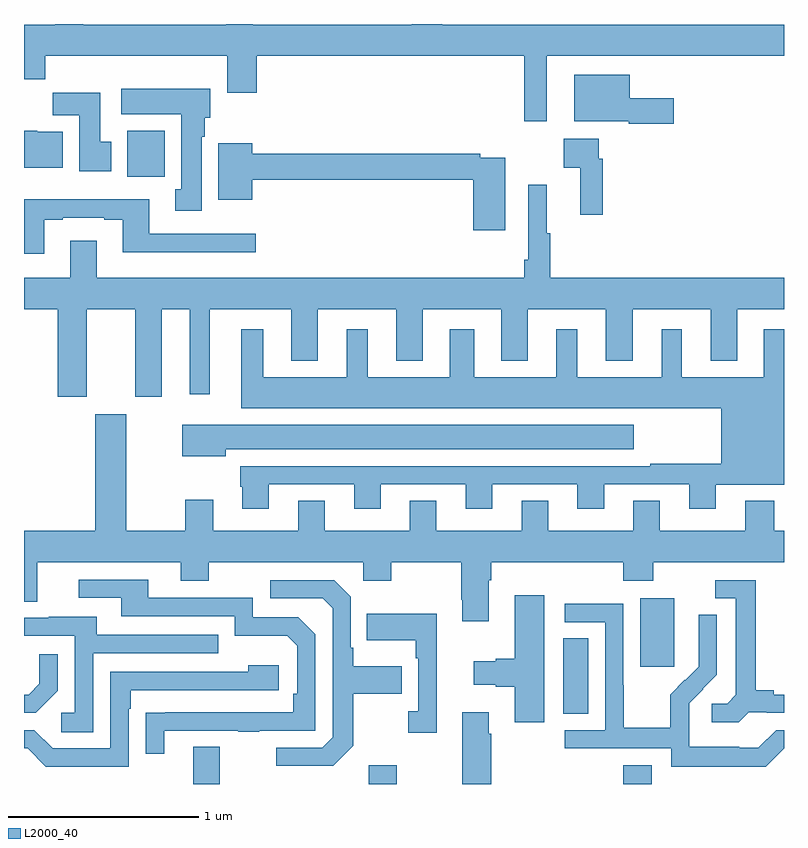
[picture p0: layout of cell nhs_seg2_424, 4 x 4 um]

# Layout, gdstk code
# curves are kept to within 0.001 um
import gdstk
lib = gdstk.Library(unit=1e-6, precision=1e-09)
def R(c, l, rs):  # rectangles x0, y0, x1, y1
    for r in rs: c.add(gdstk.rectangle(r[:2], r[2:], *l))
def P(c, l, *ps):  # polygons
    for p in ps: c.add(gdstk.Polygon(p, *l))
L2000_40 = (2000, 40)

nhs_seg2_424 = lib.new_cell('nhs_seg2_424')
R(nhs_seg2_424, L2000_40, [(131.891,647.8,132.031,647.995), (132.815,647.8,132.963,647.899), (134.153,647.8,134.305,647.899), (133.838,648.169,133.969,648.566), (134.243,648.417,134.422,648.778), (131.543,650.996,131.74,651.238)])
P(nhs_seg2_424, L2000_40, [(133.75,651.632),(135,651.632),(135,651.796),(133.202,651.796),(133.202,651.8),(133.042,651.8),(133.042,651.796),(132.205,651.796),(132.205,651.8),(132.065,651.8),(132.065,651.796),(131.311,651.796),(131.311,651.8),(131.164,651.8),(131.164,651.796),(131,651.796),(131,651.508),(131.111,651.508),(131.111,651.632),(132.071,651.632),(132.071,651.438),(132.224,651.438),(132.224,651.632),(133.633,651.632),(133.633,651.288),(133.75,651.288)],
  [(134.419,651.409),(134.188,651.409),(134.188,651.532),(133.895,651.532),(133.895,651.287),(134.184,651.287),(134.184,651.275),(134.419,651.275)],
  [(131.935,651.206),(131.95,651.206),(131.95,651.306),(131.98,651.306),(131.98,651.46),(131.511,651.46),(131.511,651.326),(131.828,651.326),(131.828,650.93),(131.795,650.93),(131.795,650.817),(131.935,650.817)],
  [(131.458,651.18),(131.401,651.18),(131.401,651.439),(131.152,651.439),(131.152,651.32),(131.291,651.32),(131.291,651.024),(131.458,651.024)],
  [(131.203,651.232),(131.07,651.232),(131.07,651.238),(131,651.238),(131,651.044),(131.203,651.044)],
  [(134.045,651.092),(134.025,651.092),(134.025,651.196),(133.842,651.196),(133.842,651.044),(133.928,651.044),(133.928,650.796),(134.045,650.796)],
  [(133.534,651.096),(133.4,651.096),(133.4,651.116),(132.202,651.116),(132.202,651.172),(132.023,651.172),(132.023,650.876),(132.202,650.876),(132.202,650.98),(133.364,650.98),(133.364,650.715),(133.534,650.715)],
  [(131.329,650.3),(131.585,650.3),(131.585,649.839),(131.725,649.839),(131.725,650.3),(131.873,650.3),(131.873,649.851),(131.977,649.851),(131.977,650.3),(132.407,650.3),(132.407,650.027),(132.547,650.027),(132.547,650.3),(132.959,650.3),(132.959,650.027),(133.099,650.027),(133.099,650.3),(133.511,650.3),(133.511,650.027),(133.651,650.027),(133.651,650.3),(134.063,650.3),(134.063,650.027),(134.203,650.027),(134.203,650.3),(134.615,650.3),(134.615,650.027),(134.755,650.027),(134.755,650.3),(135,650.3),(135,650.464),(133.769,650.464),(133.769,650.7),(133.751,650.7),(133.751,650.953),(133.653,650.953),(133.653,650.56),(133.633,650.56),(133.633,650.464),(131.383,650.464),(131.383,650.659),(131.243,650.659),(131.243,650.464),(131,650.464),(131,650.3),(131.177,650.3),(131.177,649.839),(131.329,649.839)],
  [(131.107,650.769),(131.203,650.769),(131.203,650.781),(131.423,650.781),(131.423,650.769),(131.519,650.769),(131.519,650.6),(132.22,650.6),(132.22,650.697),(131.659,650.697),(131.659,650.878),(131,650.878),(131,650.592),(131.107,650.592)],
  [(132.289,649.377),(132.737,649.377),(132.737,649.248),(132.877,649.248),(132.877,649.377),(133.325,649.377),(133.325,649.248),(133.465,649.248),(133.465,649.377),(133.913,649.377),(133.913,649.248),(134.053,649.248),(134.053,649.377),(134.501,649.377),(134.501,649.248),(134.641,649.248),(134.641,649.376),(135,649.376),(135,650.194),(134.894,650.194),(134.894,649.942),(134.461,649.942),(134.461,650.194),(134.357,650.194),(134.357,649.942),(133.912,649.942),(133.912,650.194),(133.802,650.194),(133.802,649.942),(133.369,649.942),(133.369,650.194),(133.241,650.194),(133.241,649.942),(132.808,649.942),(132.808,650.194),(132.698,650.194),(132.698,649.942),(132.259,649.942),(132.259,650.194),(132.143,650.194),(132.143,649.778),(134.669,649.778),(134.669,649.486),(134.296,649.486),(134.296,649.473),(132.137,649.473),(132.137,649.365),(132.149,649.365),(132.149,649.248),(132.289,649.248)],
  [(131,648.76),(131.071,648.76),(131.071,648.968),(131.825,648.968),(131.825,648.869),(131.973,648.869),(131.973,648.968),(132.786,648.968),(132.786,648.869),(132.933,648.869),(132.933,648.968),(133.3,648.968),(133.3,648.769),(133.307,648.769),(133.307,648.657),(133.447,648.657),(133.447,648.872),(133.46,648.872),(133.46,648.968),(134.153,648.968),(134.153,648.869),(134.313,648.869),(134.313,648.968),(135,648.968),(135,649.132),(134.948,649.132),(134.948,649.291),(134.795,649.291),(134.795,649.132),(134.347,649.132),(134.347,649.292),(134.207,649.292),(134.207,649.132),(133.759,649.132),(133.759,649.292),(133.619,649.292),(133.619,649.132),(133.171,649.132),(133.171,649.292),(133.031,649.292),(133.031,649.132),(132.583,649.132),(132.583,649.292),(132.443,649.292),(132.443,649.132),(131.995,649.132),(131.995,649.297),(131.848,649.297),(131.848,649.132),(131.539,649.132),(131.539,649.747),(131.375,649.747),(131.375,649.132),(131,649.132)],
  [(132.061,649.562),(134.209,649.562),(134.209,649.69),(131.832,649.69),(131.832,649.526),(132.061,649.526)],
  [(131.737,648.081),(132.127,648.081),(132.127,648.076),(132.239,648.076),(132.239,648.081),(132.534,648.081),(132.534,648.588),(132.444,648.678),(132.204,648.678),(132.204,648.78),(131.653,648.78),(131.653,648.876),(131.289,648.876),(131.289,648.78),(131.513,648.78),(131.513,648.684),(132.108,648.684),(132.108,648.581),(132.385,648.581),(132.438,648.528),(132.438,648.274),(132.418,648.274),(132.418,648.177),(131.641,648.176),(131.641,647.958),(131.737,647.958)],
  [(134.814,648.177),(134.908,648.177),(134.908,648.174),(135,648.174),(135,648.27),(134.947,648.27),(134.947,648.293),(134.851,648.293),(134.851,648.873),(134.637,648.873),(134.637,648.777),(134.747,648.777),(134.747,648.269),(134.7,648.222),(134.619,648.222),(134.619,648.125),(134.762,648.125)],
  [(132.733,648.001),(132.733,648.274),(132.989,648.274),(132.989,648.421),(132.733,648.421),(132.733,648.517),(132.72,648.517),(132.72,648.786),(132.633,648.873),(132.297,648.873),(132.297,648.777),(132.573,648.777),(132.624,648.726),(132.624,648.045),(132.57,647.991),(132.327,647.991),(132.327,647.895),(132.627,647.895)],
  [(133.738,648.793),(133.583,648.793),(133.583,648.458),(133.484,648.458),(133.484,648.445),(133.368,648.445),(133.368,648.323),(133.484,648.323),(133.484,648.311),(133.583,648.311),(133.583,648.126),(133.738,648.126)],
  [(135,647.988),(135,648.084),(134.958,648.084),(134.865,647.991),(134.765,647.991),(134.765,647.995),(134.502,647.995),(134.502,648.129),(134.5,648.129),(134.5,648.226),(134.646,648.374),(134.646,648.692),(134.55,648.692),(134.55,648.538),(134.552,648.538),(134.552,648.416),(134.481,648.345),(134.478,648.348),(134.401,648.271),(134.401,648.097),(134.157,648.097),(134.157,648.32),(134.154,648.32),(134.154,648.75),(133.845,648.75),(133.845,648.651),(134.058,648.651),(134.058,648.084),(133.845,648.084),(133.845,647.988),(134.406,647.988),(134.406,647.891),(134.903,647.891)],
  [(133.172,648.697),(132.805,648.697),(132.805,648.557),(133.062,648.557),(133.062,648.461),(133.074,648.461),(133.074,648.182),(133.023,648.182),(133.023,648.069),(133.172,648.069)],
  [(131.364,648.489),(132.023,648.489),(132.023,648.585),(131.383,648.585),(131.383,648.679),(131.129,648.679),(131.129,648.675),(131,648.675),(131,648.579),(131.268,648.579),(131.268,648.174),(131.196,648.174),(131.196,648.073),(131.364,648.073)],
  [(131.178,648.29),(131.178,648.484),(131.081,648.484),(131.081,648.327),(131.024,648.27),(131,648.27),(131,648.174),(131.062,648.174)],
  [(131.55,648.197),(131.563,648.197),(131.563,648.294),(132.34,648.294),(132.34,648.424),(132.179,648.424),(132.179,648.39),(131.454,648.39),(131.454,647.988),(131.151,647.988),(131.055,648.084),(131,648.084),(131,647.988),(131.019,647.988),(131.115,647.892),(131.55,647.892)],
  [(133.46,648.065),(133.447,648.065),(133.447,648.178),(133.307,648.178),(133.307,647.8),(133.46,647.8)])

lib.write_gds('nhs_seg2_424.gds')
